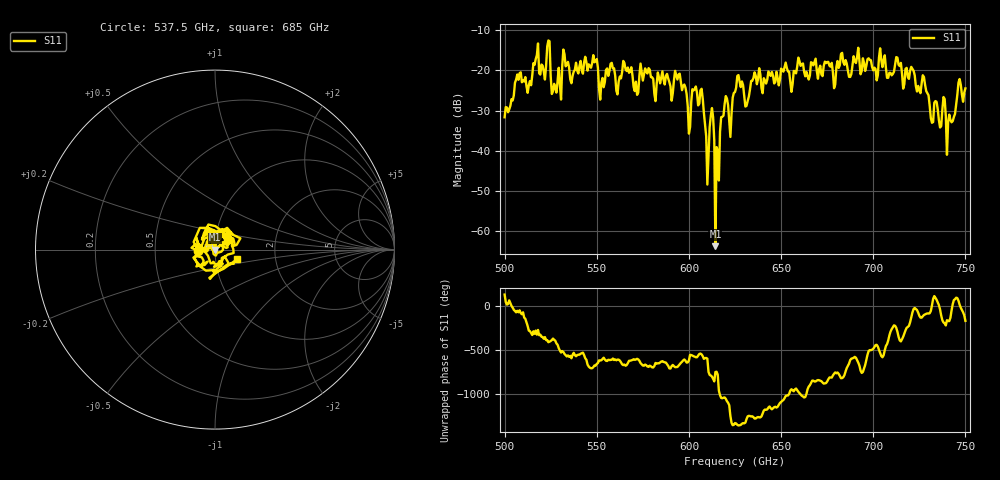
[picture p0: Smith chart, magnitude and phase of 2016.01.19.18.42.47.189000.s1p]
!Created with skrf (http://scikit-rf.org).
# GHz S RI R 50.0
!freq ReS11 ImS11
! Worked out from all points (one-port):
!   401 points, 500 GHz to 750 GHz, reference 50 ohm
!   lowest |S11| = -63.8 dB at 614.4 GHz (marker M1), VSWR 1.00, Z = 50.1 - j0.0331 ohm
!   |S11| at or under -10 dB: start of sweep to end of sweep
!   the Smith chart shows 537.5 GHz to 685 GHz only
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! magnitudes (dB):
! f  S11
! 500 GHz  -31.7
! 507.5 GHz  -22.3
! 513.1 GHz  -23.7
! 516.9 GHz  -17.2
! 523.8 GHz  -12.5
! 526.9 GHz  -23.3
! 531.2 GHz  -19.1
! 548.8 GHz  -18.0
! 552.5 GHz  -23.0
! 562.5 GHz  -21.5
! 593.8 GHz  -22.3
! 600 GHz  -35.7
! 603.1 GHz  -24.7
! 606.9 GHz  -24.6
! 610 GHz  -48.4
! 612.5 GHz  -29.4
! 614.4 GHz  -63.8
! 615.6 GHz  -40.0
! 618.8 GHz  -31.3
! 622.5 GHz  -36.6
! 625 GHz  -25.4
! 656.2 GHz  -23.4
! 660.6 GHz  -18.9
! 687.5 GHz  -21.6
! 718.8 GHz  -21.6
! 741.2 GHz  -31.0
! 746.2 GHz  -23.0
! 750 GHz  -24.5
